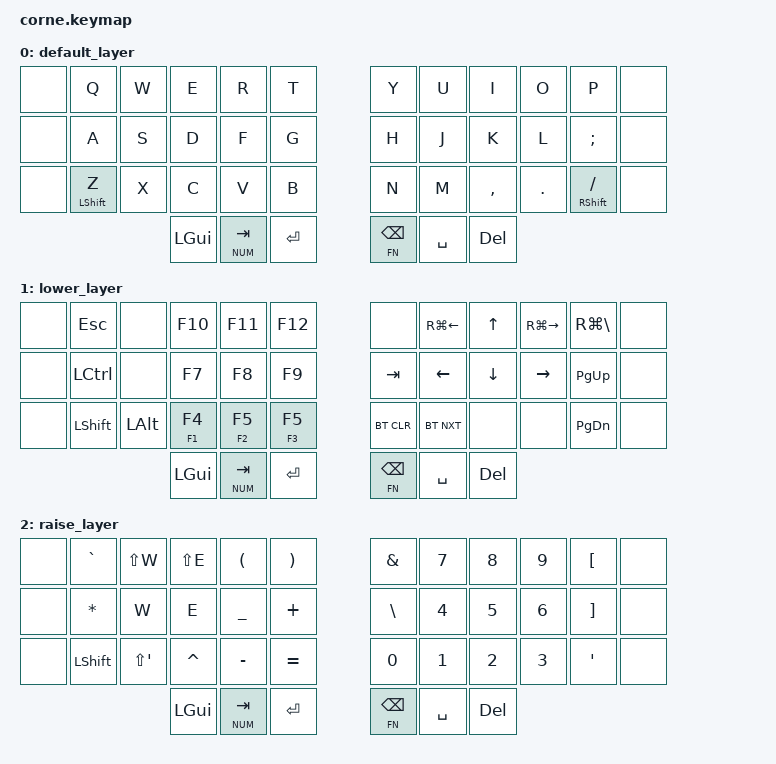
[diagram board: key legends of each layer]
/*
 * Copyright (c) 2020 The ZMK Contributors
 *
 * SPDX-License-Identifier: MIT
 */

#include <behaviors.dtsi>
#include <dt-bindings/zmk/keys.h>
#include <dt-bindings/zmk/bt.h>
#define DVORAK 0 //added these in to define the layers.
#define FN 1
#define NUM 2

/ {
        keymap {
                compatible = "zmk,keymap";

                default_layer {
// -----------------------------------------------------------------------------------------
// |  '  |  ,  |  .  |  P  |  Y  |   |    F   |  G   |  C  |  R  |  L  |
// |  A  |  O  |  E  |  U  |  I  |   |    D   |  H   |  T  |  N  |  S  |
// | LS ; |  Q  |  J  |  K  |  X  |   |    B   |  M   |  W  |  V  | RS Z  |
//             | GUI | NUM TAB | ENT|   | FN-BSPC | SPC | DEL |
                        bindings = <
   &none &kp Q	&kp W	&kp E &kp R &kp T  	&kp Y	&kp U	&kp I &kp O   &kp P    &none
   &none &kp A &kp S 	&kp D &kp F &kp G  	&kp H 	&kp J	&kp K   &kp L   &kp SEMI &none
   &none &mt LSHIFT Z 	&kp X 	&kp C 	&kp V	&kp B &kp N 	&kp M	&kp COMMA	&kp DOT &mt RSHIFT FSLH &none
                &kp LGUI &lt NUM TAB &kp RET	&lt FN BSPC &kp SPACE	&kp DEL
                        >;
                };
                lower_layer {
// -----------------------------------------------------------------------------------------
// | ESC  |     | F10  | F11  | F12  |   |     | HOME |  UP  | END | gu\ |
// | CRTL |     | F7   | F8   | F9   |   |  TAB   | LFT  |  DN  | RGT | PGUP |
// | LS   | OPT | F1-4 | F2-5 | F3-6 |   |  BT_CLR   |   BT_NXT   |     |     |  PGDN   |
//                   | GUI | NUM TAB | ENT|   | FN-BSPC | SPC | DEL |
                        bindings = <
   &none &kp ESC    &none  &kp F10    &kp F11   &kp F12	  &none   &kp RG(LEFT)  &kp UP   &kp RG(RIGHT)	  &kp RG(BSLH) &none
   &none &kp LCTRL  &none  &kp F7     &kp F8	&kp F9   &kp TAB  &kp LEFT  &kp DOWN  &kp RIGHT &kp PG_UP &none
   &none &kp LSHIFT  &kp LALT  &mt F1 F4  &mt F2 F5 &mt F3 F5     &bt BT_CLR	&bt BT_NXT  &none &none     &kp PG_DN &none
                &kp LGUI &lt NUM TAB &kp RET	&lt FN BSPC &kp SPACE	&kp DEL
                        >;
                };

                raise_layer {
// -----------------------------------------------------------------------------------------
// |  `~  |  <  |  >  |  (  |  )  |  |  &  |   7  |  8  |  9  |  /?  |
// |  *  |  ,  |  .  |  {  |  }  |  | \|  |   4  |  5  |  6  |  =+  |
// |  LS  |  _  |  ^  |  [  |  ]  |  |  0  |   1  |  2  |  3  |  -_  |
//              | GUI | NUM TAB | ENT|   | FN-BSPC | SPC | DEL |
                        bindings = <
   &none &kp GRAVE &kp LS(W)		&kp	LS(E)	  &kp LPAR 	&kp	RPAR	  &kp AMPS	   &kp N7	&kp N8	&kp N9	&kp LBKT &none
   &none &kp STAR &kp W	&kp	E	  &kp UNDER 	&kp	PLUS	  &kp BSLH	   &kp N4	&kp N5	&kp N6 	&kp RBKT &none
   &none &kp LSHIFT	 &kp LS(APOS)	&kp CARET &kp MINUS 	&kp	EQUAL	  &kp N0 	   &kp N1	&kp N2	&kp N3	&kp APOS &none
             	&kp LGUI &lt NUM TAB &kp RET	&lt FN BSPC &kp SPACE	&kp DEL
                        >;
                };
        };
};
